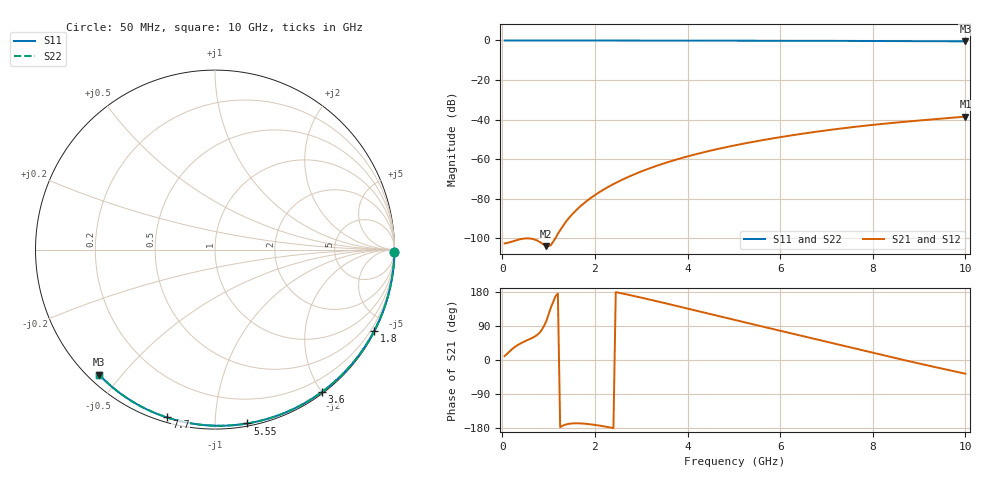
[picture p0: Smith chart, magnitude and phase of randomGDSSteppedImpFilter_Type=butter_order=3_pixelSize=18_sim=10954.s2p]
! freq	dB(S11)	phase(S11)	dB(S12)	phase(S12)
!  dB(S21)	phase(S21)	dB(S22)	phase(S22)
!S-par simulation data
#  GHz  S  DB  R 50
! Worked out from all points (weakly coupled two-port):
!   200 points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, 50 MHz to 10 GHz, reference 50 ohm
!   highest |S21| = -38.48 dB at 10 GHz (marker M1); lowest = -103.9 dB at 950 MHz (marker M2)
!   lowest |S11| = -0.4 dB at 10 GHz (marker M3), VSWR 38.93, Z = 1.53 - j21.8 ohm
!   |S11| at or under -10 dB: nowhere
!   |S22| runs from -0.4 to 0.0 dB; largest |S21 - S12| = 0
!   S11 on the Smith chart (normalised r, x): 50 MHz: open; 1.8 GHz: 0.04, -4.13; 3.6 GHz: 0.02, -2.00; 5.55 GHz: 0.02, -1.20; 7.7 GHz: 0.02, -0.75; 10 GHz: 0.03, -0.44
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0.05  -0.00 -0.8  -102.53 10.4  -102.53 10.4  -0.00 -0.8
0.5  -0.01 -7.7  -100.02 50.1  -100.02 50.1  -0.01 -7.7
0.95  -0.02 -14.5  -103.93 102.3  -103.93 102.3  -0.02 -14.5
1.75  -0.03 -26.5  -82.49 -167.8  -82.49 -167.8  -0.03 -26.4
1.8  -0.03 -27.2  -81.53 -168.3  -81.53 -168.3  -0.03 -27.2
1.9  -0.04 -28.7  -79.76 -169.6  -79.76 -169.6  -0.04 -28.7
2.05  -0.04 -30.9  -77.34 -172.2  -77.34 -172.2  -0.04 -30.9
2.25  -0.04 -33.8  -74.48 -176.3  -74.48 -176.3  -0.04 -33.8
2.65  -0.05 -39.7  -69.68 174.0  -69.68 174.0  -0.05 -39.6
3  -0.06 -44.7  -66.20 164.6  -66.20 164.6  -0.06 -44.7
3.4  -0.07 -50.4  -62.80 153.3  -62.80 153.3  -0.07 -50.3
3.6  -0.07 -53.2  -61.29 147.5  -61.29 147.5  -0.07 -53.1
3.9  -0.08 -57.4  -59.22 138.7  -59.22 138.7  -0.08 -57.3
4.3  -0.09 -62.9  -56.76 126.9  -56.76 126.9  -0.09 -62.8
5.05  -0.11 -72.9  -52.86 104.8  -52.86 104.8  -0.11 -72.8
5.55  -0.13 -79.5  -50.65 90.3  -50.65 90.3  -0.13 -79.4
6.1  -0.15 -86.5  -48.48 74.3  -48.48 74.3  -0.15 -86.4
6.7  -0.18 -94.0  -46.37 56.9  -46.37 56.9  -0.18 -93.9
7.7  -0.24 -106.1  -43.42 27.8  -43.42 27.8  -0.24 -106.0
8.35  -0.29 -113.8  -41.83 9.0  -41.83 9.0  -0.29 -113.7
9.15  -0.36 -123.1  -40.14 -13.4  -40.14 -13.4  -0.36 -122.9
10  -0.45 -132.8  -38.48 -36.2  -38.48 -36.2  -0.45 -132.7
